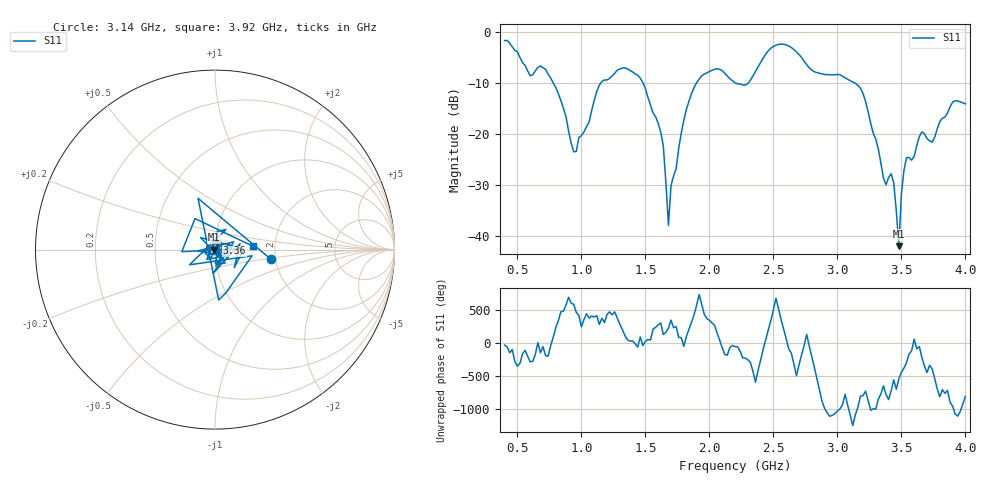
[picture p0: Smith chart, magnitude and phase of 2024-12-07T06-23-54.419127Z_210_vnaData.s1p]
!Created with skrf (http://scikit-rf.org).
# Hz S RI R 50.0
!freq ReS11 ImS11
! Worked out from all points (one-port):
!   181 points, 400 MHz to 4 GHz, reference 50 ohm
!   lowest |S11| = -41.9 dB at 3.48 GHz (marker M1), VSWR 1.02, Z = 49.2 + j0.0396 ohm
!   |S11| at or under -10 dB: 779.9 MHz to 1.151 GHz (371.3 MHz wide, 38.5 % of centre); 1.482 GHz to 1.898 GHz (416.3 MHz wide, 24.6 % of centre); 3.138 GHz to end of sweep (the widest 3 of 4)
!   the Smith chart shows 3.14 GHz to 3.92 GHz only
!   S11 on the Smith chart (normalised r, x): 3.14 GHz: 1.88, -0.22; 3.36 GHz: 1.02, +0.07; 3.92 GHz: 1.53, +0.06
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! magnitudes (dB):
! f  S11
! 400 MHz  -1.7
! 600 MHz  -8.5
! 720 MHz  -7.3
! 860 MHz  -15.0
! 960 MHz  -23.4
! 1.14 GHz  -10.4
! 1.3 GHz  -7.2
! 1.46 GHz  -9.1
! 1.6 GHz  -17.9
! 1.64 GHz  -22.3
! 1.68 GHz  -37.9
! 1.7 GHz  -30.1
! 1.76 GHz  -22.8
! 1.84 GHz  -13.6
! 1.94 GHz  -8.6
! 2.2 GHz  -9.9
! 2.5 GHz  -2.8
! 2.66 GHz  -3.4
! 3.1 GHz  -9.5
! 3.14 GHz  -10.0
! 3.22 GHz  -13.6
! 3.36 GHz  -28.6
! 3.44 GHz  -29.5
! 3.48 GHz  -41.9
! 3.52 GHz  -27.1
! 3.56 GHz  -24.6
! 3.92 GHz  -13.5
! 4 GHz  -14.1
